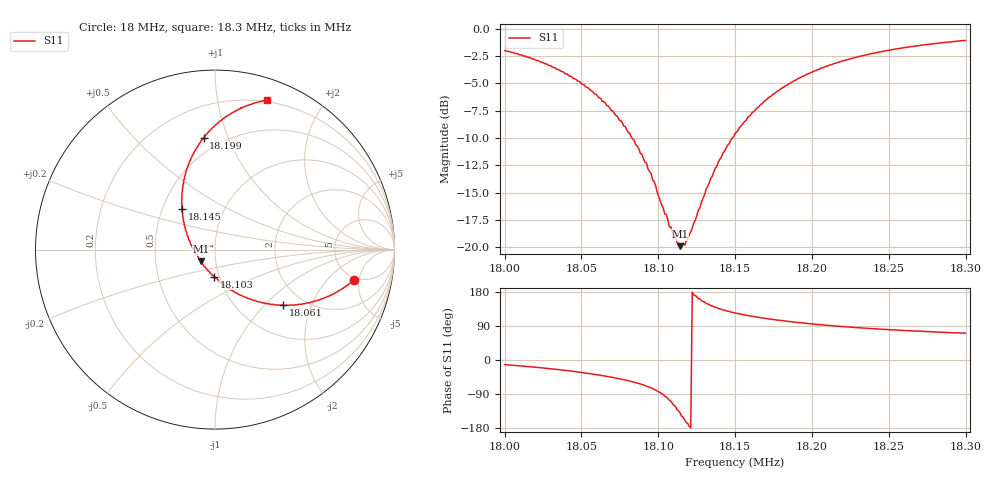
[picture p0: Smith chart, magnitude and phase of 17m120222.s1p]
# HZ S RI R 50
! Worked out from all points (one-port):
!   303 points, 18 MHz to 18.3 MHz, reference 50 ohm
!   lowest |S11| = -19.9 dB at 18.114 MHz (marker M1), VSWR 1.23, Z = 42.5 - j5.62 ohm
!   |S11| at or under -10 dB: 18.08287 MHz to 18.14819 MHz (65.32 kHz wide, 0.361 % of centre)
!   S11 on the Smith chart (normalised r, x): 18 MHz: 4.68, -4.26; 18.061 MHz: 1.58, -1.29; 18.103 MHz: 0.95, -0.29; 18.145 MHz: 0.63, +0.31; 18.199 MHz: 0.40, +0.82; 18.3 MHz: 0.19, +1.39
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1.8e7  0.7748 -0.169
1.801887e7  0.6884 -0.231
1.803773e7  0.5686 -0.2845
1.806057e7  0.3796 -0.3101
1.807547e7  0.2431 -0.2908
1.80844e7  0.1607 -0.2632
1.809235e7  0.0885 -0.2259
1.810327e7  -0.00294 -0.151
1.810426e7  -0.0138 -0.1415
1.810526e7  -0.0184 -0.1402
1.810724e7  -0.0349 -0.119
1.810824e7  -0.0396 -0.1177
1.811022e7  -0.055 -0.0968
1.811122e7  -0.0605 -0.0941
1.811221e7  -0.0689 -0.0789
1.81132e7  -0.0731 -0.0745
1.81142e7  -0.0773 -0.0654
1.811717e7  -0.095 -0.038
1.812214e7  -0.1225 0.00227
1.813406e7  -0.1657 0.1231
1.814498e7  -0.1825 0.2284
1.814994e7  -0.1848 0.274
1.816682e7  -0.1638 0.4204
1.818768e7  -0.104 0.5632
1.81986e7  -0.063 0.6228
1.822541e7  0.0451 0.7279
1.826314e7  0.1832 0.8038
1.829989e7  0.2904 0.833
